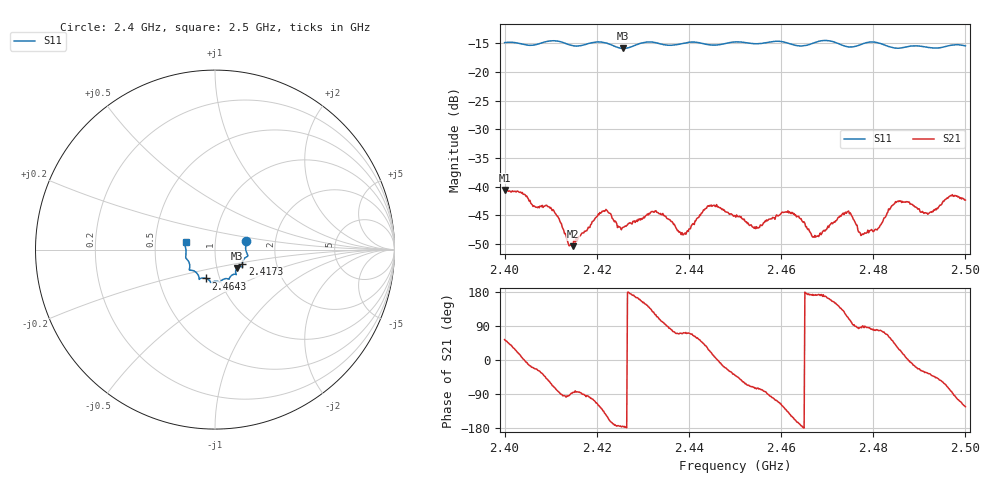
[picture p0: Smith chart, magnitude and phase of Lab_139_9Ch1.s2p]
# Hz S RI R 50
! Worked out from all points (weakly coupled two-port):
!   601 points, 2.4 GHz to 2.5 GHz, reference 50 ohm
!   highest |S21| = -40.61 dB at 2.4 GHz (marker M1); lowest = -50.4 dB at 2.4148 GHz (marker M2)
!   lowest |S11| = -15.9 dB at 2.4257 GHz (marker M3), VSWR 1.38, Z = 62.5 - j13.1 ohm
!   |S11| at or under -10 dB: start of sweep to end of sweep
!   S12 and S22 are empty: the file has one direction only
!   S11 on the Smith chart (normalised r, x): 2.4 GHz: 1.41, +0.14; 2.4173 GHz: 1.34, -0.23; 2.4643 GHz: 0.86, -0.28; 2.5 GHz: 0.72, +0.06
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2.4e9  0.1735 0.0486  0.00551 0.00752  0 0  0 0
2.410167e9  0.1838 -0.0339  0.00286 -0.00568  0 0  0 0
2.414833e9  0.1605 -0.0539  0.00025 -0.003  0 0  0 0
2.416667e9  0.1529 -0.0743  0.000181 -0.00386  0 0  0 0
2.417333e9  0.1522 -0.0817  -0.000187 -0.00407  0 0  0 0
2.421667e9  0.1527 -0.0959  -0.00464 -0.00392  0 0  0 0
2.425667e9  0.1231 -0.1025  -0.00438 -0.000401  0 0  0 0
2.433333e9  0.1127 -0.1373  -0.00224 0.00546  0 0  0 0
2.438833e9  0.0804 -0.1586  0.00116 0.00361  0 0  0 0
2.4445e9  0.0598 -0.1616  0.00624 0.00279  0 0  0 0
2.45e9  0.0283 -0.1808  0.00422 -0.00359  0 0  0 0
2.4545e9  0.00601 -0.176  0.00117 -0.00412  0 0  0 0
2.460667e9  -0.0258 -0.1804  -0.00348 -0.00485  0 0  0 0
2.464333e9  -0.05 -0.1607  -0.00521 -0.000595  0 0  0 0
2.466667e9  -0.0763 -0.1592  -0.00367 0.000571  0 0  0 0
2.4745e9  -0.1016 -0.1308  -0.00236 0.00557  0 0  0 0
2.477833e9  -0.1338 -0.1151  4.3e-05 0.00382  0 0  0 0
2.483333e9  -0.1405 -0.0899  0.003 0.00562  0 0  0 0
2.485833e9  -0.1481 -0.0641  0.00668 0.00325  0 0  0 0
2.492e9  -0.1615 -0.0255  0.00469 -0.0034  0 0  0 0
2.496833e9  -0.1686 0.0263  0.00114 -0.00827  0 0  0 0
2.5e9  -0.1633 0.0424  -0.00419 -0.00636  0 0  0 0
